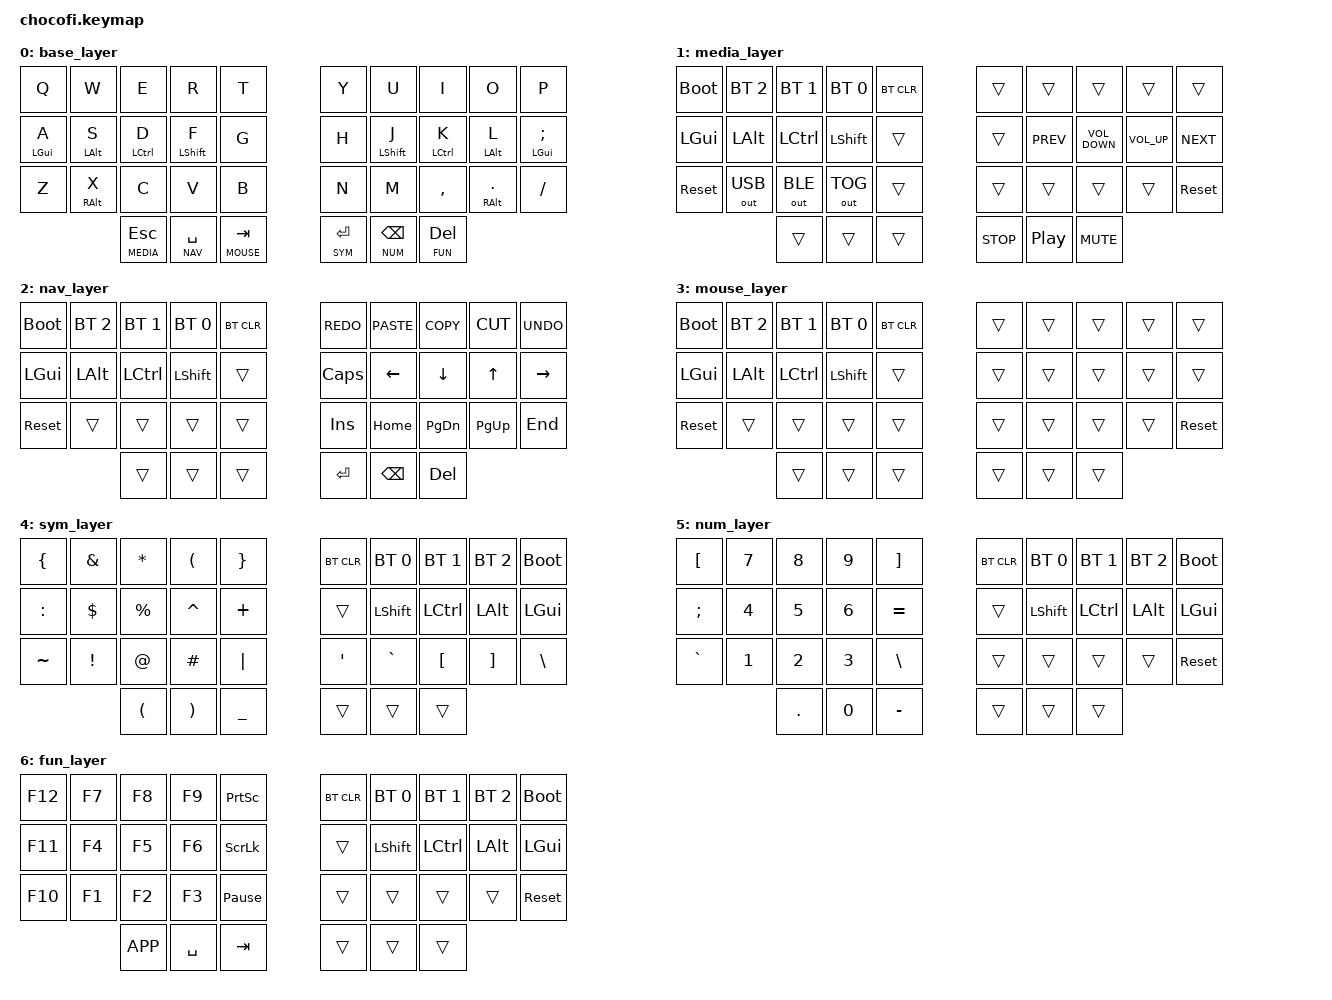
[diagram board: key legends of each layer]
/*
 * Copyright (c) 2020 The ZMK Contributors
 *
 * SPDX-License-Identifier: MIT
 */

#include <behaviors.dtsi>
#include <dt-bindings/zmk/keys.h>
#include <dt-bindings/zmk/bt.h>
#include <dt-bindings/zmk/outputs.h>

#define BASE    0
#define MEDIA   1
#define NAV     2
#define MOUSE   3
#define SYM     4
#define NUM     5
#define FUN     6

/ {
	behaviors {
		hm: homerow_mods {
			compatible = "zmk,behavior-hold-tap";
			label = "homerow mods";
			#binding-cells = <2>;
			tapping_term_ms = <150>;
			flavor = "tap-preferred";
			bindings = <&kp>, <&kp>;
		};
	};

    keymap {
        compatible = "zmk,keymap";

        base_layer {
            bindings = <
   &kp Q      &kp W       &kp E         &kp R         &kp T           &kp Y       &kp U       &kp I       &kp O         &kp P
   &hm LGUI A &hm LALT S  &hm LCTRL D   &hm LSHFT F   &kp G           &kp H       &hm LSHFT J &hm LCTRL K &hm LALT L    &hm LGUI SEMI
   &kp Z      &hm RALT X  &kp C         &kp V         &kp B           &kp N       &kp M       &kp COMMA   &hm RALT DOT  &kp FSLH
                          &lt MEDIA ESC &lt NAV SPACE &lt MOUSE TAB   &lt SYM RET &lt NUM BSPC &lt FUN DEL
            >;
        };

        media_layer {
            bindings = <
   &bootloader &bt BT_SEL 2 &bt BT_SEL 1 &bt BT_SEL 0 &bt BT_CLR   &trans     &trans     &trans            &trans          &trans
   &kp LGUI    &kp LALT     &kp LCTRL    &kp LSHFT    &trans       &trans     &kp C_PREV &kp C_VOLUME_DOWN &kp C_VOLUME_UP &kp C_NEXT
   &sys_reset      &out OUT_USB &out OUT_BLE &out OUT_TOG &trans       &trans     &trans     &trans            &trans          &sys_reset
                            &trans       &trans       &trans       &kp C_STOP &kp C_PP   &kp C_MUTE
            >;
        };

        nav_layer {
            bindings = <
   &bootloader &bt BT_SEL 2 &bt BT_SEL 1 &bt BT_SEL 0 &bt BT_CLR   &kp K_REDO &kp K_PASTE &kp K_COPY &kp K_CUT &kp K_UNDO
   &kp LGUI    &kp LALT     &kp LCTRL    &kp LSHFT    &trans       &kp CAPS   &kp LEFT    &kp DOWN   &kp UP    &kp RIGHT
   &sys_reset      &trans       &trans       &trans       &trans       &kp INS    &kp HOME    &kp PG_DN  &kp PG_UP &kp END
                            &trans       &trans       &trans       &kp RET    &kp BSPC    &kp DEL
            >;
        };

        mouse_layer {
            bindings = <
   &bootloader &bt BT_SEL 2 &bt BT_SEL 1 &bt BT_SEL 0 &bt BT_CLR   &trans &trans &trans &trans &trans
   &kp LGUI    &kp LALT     &kp LCTRL    &kp LSHFT    &trans       &trans &trans &trans &trans &trans
   &sys_reset      &trans       &trans       &trans       &trans       &trans &trans &trans &trans &sys_reset
                            &trans       &trans       &trans       &trans &trans &trans
            >;
        };

        sym_layer {
            bindings = <
   &kp LBRC  &kp AMPS &kp ASTRK &kp LPAR  &kp RBRC    &bt BT_CLR &bt BT_SEL 0 &bt BT_SEL 1 &bt BT_SEL 2 &bootloader
   &kp COLON &kp DLLR &kp PRCNT &kp CARET &kp PLUS    &trans     &kp LSHFT    &kp LCTRL    &kp LALT     &kp LGUI
   &kp TILDE &kp EXCL &kp AT    &kp HASH  &kp PIPE    &kp SQT    &kp GRAVE    &kp LBKT     &kp RBKT     &kp BSLH
                      &kp LPAR  &kp RPAR  &kp UNDER   &trans     &trans       &trans
            >;
        };

        num_layer {
            bindings = <
   &kp LBKT  &kp N7 &kp N8  &kp N9 &kp RBKT    &bt BT_CLR &bt BT_SEL 0 &bt BT_SEL 1 &bt BT_SEL 2 &bootloader
   &kp SEMI  &kp N4 &kp N5  &kp N6 &kp EQUAL   &trans     &kp LSHFT    &kp LCTRL    &kp LALT     &kp LGUI
   &kp GRAVE &kp N1 &kp N2  &kp N3 &kp BSLH    &trans     &trans       &trans       &trans       &sys_reset
                    &kp DOT &kp N0 &kp MINUS   &trans     &trans       &trans
            >;
        };

        fun_layer {
            bindings = <
   &kp F12 &kp F7 &kp F8    &kp F9    &kp PSCRN         &bt BT_CLR &bt BT_SEL 0 &bt BT_SEL 1 &bt BT_SEL 2 &bootloader
   &kp F11 &kp F4 &kp F5    &kp F6    &kp SLCK          &trans     &kp LSHFT    &kp LCTRL    &kp LALT     &kp LGUI
   &kp F10 &kp F1 &kp F2    &kp F3    &kp PAUSE_BREAK   &trans     &trans       &trans       &trans       &sys_reset
                  &kp K_APP &kp SPACE &kp TAB           &trans     &trans       &trans
            >;
        };
    };
};
